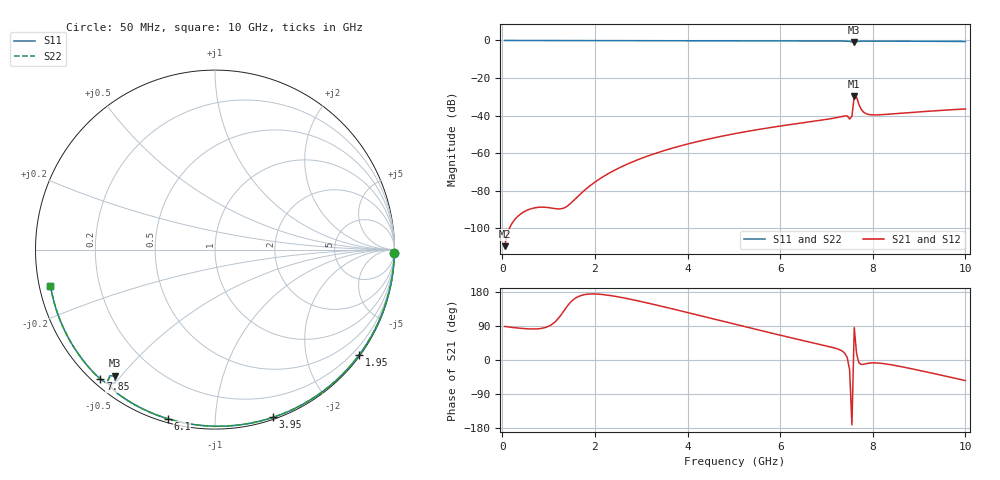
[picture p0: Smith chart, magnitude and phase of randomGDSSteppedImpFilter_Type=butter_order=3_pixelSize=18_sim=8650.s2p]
! freq	dB(S11)	phase(S11)	dB(S12)	phase(S12)
!  dB(S21)	phase(S21)	dB(S22)	phase(S22)
!S-par simulation data
#  GHz  S  DB  R 50
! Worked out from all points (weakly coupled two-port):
!   200 points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, 50 MHz to 10 GHz, reference 50 ohm
!   highest |S21| = -29.63 dB at 7.6 GHz (marker M1); lowest = -109.5 dB at 50 MHz (marker M2)
!   lowest |S11| = -0.9 dB at 7.6 GHz (marker M3), VSWR 18.32, Z = 3.36 - j24.1 ohm
!   |S11| at or under -10 dB: nowhere
!   |S22| runs from -0.9 to 0.0 dB; largest |S21 - S12| = 0
!   S11 on the Smith chart (normalised r, x): 50 MHz: open; 1.95 GHz: 0.03, -3.07; 3.95 GHz: 0.02, -1.41; 6.1 GHz: 0.02, -0.76; 7.85 GHz: 0.02, -0.45; 10 GHz: 0.03, -0.11
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0.05  -0.00 -1.0  -109.49 88.8  -109.49 88.8  -0.00 -1.0
0.9  -0.02 -16.8  -88.73 84.8  -88.73 84.8  -0.02 -16.8
1.75  -0.04 -32.4  -80.30 171.8  -80.30 171.8  -0.04 -32.4
1.95  -0.05 -36.0  -76.29 174.3  -76.29 174.3  -0.05 -36.0
2.6  -0.06 -47.6  -66.93 164.4  -66.93 164.4  -0.06 -47.6
3.4  -0.08 -61.5  -59.35 142.9  -59.35 142.9  -0.08 -61.5
3.95  -0.10 -70.9  -55.44 126.7  -55.44 126.7  -0.10 -70.9
5.05  -0.14 -88.9  -49.46 93.7  -49.46 93.7  -0.14 -88.9
6.1  -0.19 -105.6  -45.19 62.6  -45.19 62.6  -0.19 -105.6
6.7  -0.23 -115.1  -43.09 45.4  -43.09 45.4  -0.23 -115.1
7.4  -0.33 -126.9  -40.14 17.1  -40.14 17.1  -0.34 -126.9
7.45  -0.38 -128.0  -40.17 5.7  -40.17 5.7  -0.39 -128.1
7.5  -0.50 -129.3  -41.83 -26.2  -41.83 -26.2  -0.52 -129.3
7.55  -0.77 -129.8  -40.29 -171.1  -40.29 -171.1  -0.81 -129.7
7.6  -0.95 -128.4  -29.63 85.6  -29.63 85.6  -0.93 -128.0
7.65  -0.68 -126.8  -30.09 17.3  -30.09 17.3  -0.64 -126.8
7.7  -0.43 -128.1  -34.04 -7.1  -34.04 -7.1  -0.42 -128.2
7.75  -0.36 -129.4  -36.67 -11.8  -36.67 -11.8  -0.36 -129.5
7.85  -0.33 -131.6  -38.91 -9.9  -38.91 -9.9  -0.33 -131.6
8  -0.33 -134.3  -39.61 -7.6  -39.61 -7.6  -0.33 -134.3
8.35  -0.36 -140.0  -39.24 -11.6  -39.24 -11.6  -0.36 -140.1
10  -0.55 -167.7  -36.45 -54.3  -36.45 -54.3  -0.55 -167.7
